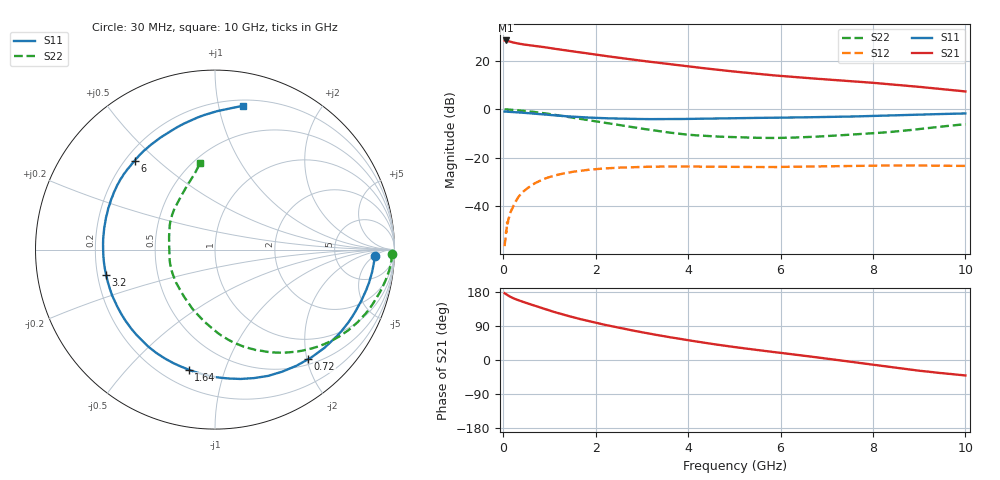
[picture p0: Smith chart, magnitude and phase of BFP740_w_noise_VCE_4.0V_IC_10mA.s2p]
! Infineon Technologies  Discrete & RF Semiconductors
! BFP740
! VCE =  4.0 V,  IC =  10 mA
! Common Emitter S-Parameters:  Jan 2016
# GHz  S  MA  R  50
!  f  S11  S21  S12  S22
! GHz  MAG  ANG  MAG  ANG  MAG  ANG  MAG  ANG
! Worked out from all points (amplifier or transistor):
!   229 points, 30 MHz to 10 GHz, reference 50 ohm
!   highest |S21| = 28.3 dB at 50 MHz (marker M1)
!   |S21| within 3 dB of that: start of sweep to 965.4 MHz
!   unconditionally stable (mu >= 1): 7.199 GHz to end of sweep
!   at 280 MHz: K = 0.18, MSG = 32.5 dB, |S12| = -37.7 dB
!   at 1.78 GHz: K = 0.32, MSG = 24.1 dB, |S12| = -25.1 dB
!   at 10 GHz: K = 1.07, MAG = 13.8 dB, |S12| = -23.4 dB
!   lowest NFmin = 0.51 dB at 450 MHz
!   S11 on the Smith chart (normalised r, x): 30 MHz: 16, -5; 720 MHz: 0.59, -2.02; 1.64 GHz: 0.30, -0.76; 3.2 GHz: 0.24, -0.11; 6 GHz: 0.24, +0.42; 10 GHz: 0.25, +1.18
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0.03  0.8903 -2.2  26.01 176.2  0.0015 88.7  0.9854 -1.4
0.05  0.8901 -3.8  26.02 174.7  0.0021 95.1  0.9847 -2.6
0.13  0.8808 -10.0  24.92 168.2  0.006 77.8  0.9781 -6.7
0.26  0.8637 -19.2  23.13 160.9  0.012 76.8  0.9562 -12.7
0.4  0.8466 -28.7  21.89 154.6  0.0186 71.2  0.9306 -18.8
0.72  0.8015 -49.7  19.84 141.4  0.0309 61.2  0.8636 -31.9
0.9  0.7762 -61.2  18.87 134.2  0.037 55.3  0.8196 -38.8
1.1  0.7482 -73.1  17.66 126.8  0.0424 49.4  0.7677 -46.0
1.36  0.7141 -87.6  16.23 117.7  0.0483 42.4  0.7035 -54.5
1.64  0.6849 -102.4  14.89 108.8  0.0533 36.2  0.6391 -63.0
1.7  0.6803 -105.4  14.61 107.0  0.0541 35.0  0.6252 -64.7
2.1  0.6561 -124.5  12.91 95.4  0.0588 26.9  0.544 -76.3
2.3  0.6453 -132.9  12.14 90.1  0.0608 23.7  0.509 -81.4
2.72  0.6303 -149.6  10.74 79.8  0.0633 17.5  0.4379 -92.2
3.2  0.6227 -166.9  9.402 68.8  0.065 11.5  0.3718 -105.8
3.4  0.6228 -173.5  8.905 64.4  0.0654 9.3  0.3495 -111.7
4.1  0.6301 166.1  7.417 50.2  0.0657 2.7  0.292 -133.8
5.1  0.6536 145.0  5.815 32.6  0.0644 -3.6  0.2625 -161.8
6  0.6674 132.2  4.836 18.8  0.0645 -6.7  0.2555 177.1
6.8  0.6844 121.6  4.222 6.8  0.066 -9.7  0.2716 159.8
8.4  0.7421 97.6  3.241 -18.8  0.0691 -17.5  0.34 126.4
10  0.8157 79.0  2.316 -40.8  0.0676 -24.3  0.4897 99.7
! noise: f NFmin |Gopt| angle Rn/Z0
0.45  0.51  0.22  7  0.16
0.9  0.52  0.22  13  0.16
1.5  0.54  0.21  22  0.15
1.9  0.57  0.21  40  0.15
2.4  0.6  0.2  46  0.14
3.5  0.7  0.18  59  0.13
5.5  0.87  0.17  198  0.12
10  1.35  0.51  -74  0.16
